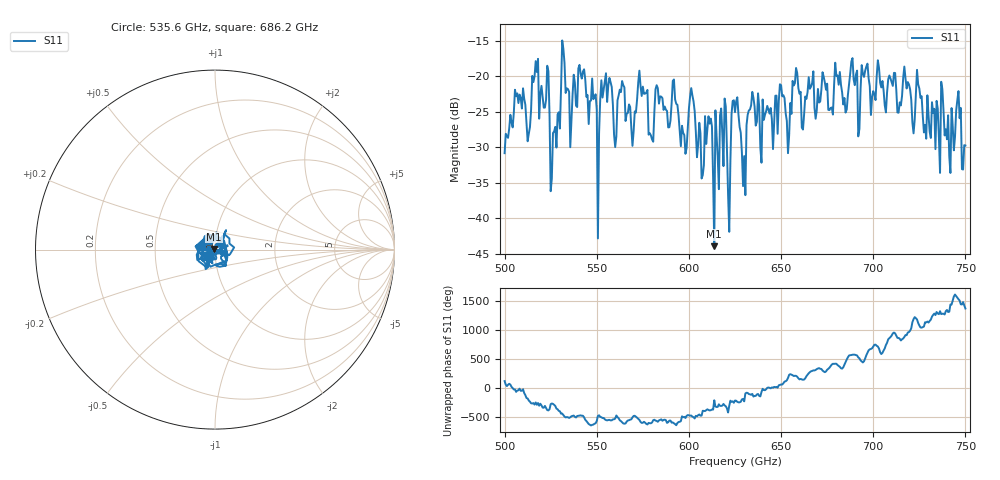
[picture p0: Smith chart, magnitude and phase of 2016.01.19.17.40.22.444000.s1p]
!Created with skrf (http://scikit-rf.org).
# GHz S RI R 50.0
!freq ReS11 ImS11
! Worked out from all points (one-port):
!   401 points, 500 GHz to 750 GHz, reference 50 ohm
!   lowest |S11| = -43.9 dB at 613.8 GHz (marker M1), VSWR 1.01, Z = 49.5 + j0.319 ohm
!   |S11| at or under -10 dB: start of sweep to end of sweep
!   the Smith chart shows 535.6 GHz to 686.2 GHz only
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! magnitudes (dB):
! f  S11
! 500 GHz  -30.8
! 506.9 GHz  -22.4
! 513.1 GHz  -28.1
! 516.9 GHz  -17.9
! 526.2 GHz  -28.0
! 531.2 GHz  -15.0
! 535.6 GHz  -30.0
! 541.9 GHz  -20.3
! 550.6 GHz  -42.8
! 553.8 GHz  -21.9
! 560 GHz  -30.0
! 562.5 GHz  -21.9
! 573.8 GHz  -21.4
! 579.4 GHz  -28.3
! 583.1 GHz  -21.7
! 593.8 GHz  -24.0
! 613.8 GHz  -43.9
! 618.8 GHz  -32.7
! 621.9 GHz  -41.9
! 625 GHz  -25.1
! 629.4 GHz  -35.5
! 633.8 GHz  -24.1
! 656.2 GHz  -20.6
! 687.5 GHz  -19.6
! 718.8 GHz  -20.8
! 740.6 GHz  -25.5
! 746.2 GHz  -22.1
! 750 GHz  -29.8
